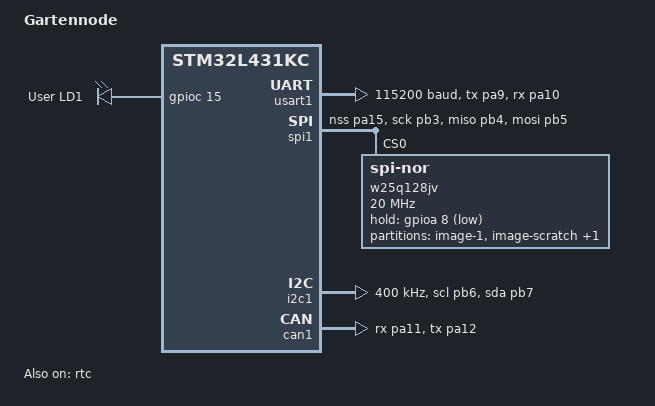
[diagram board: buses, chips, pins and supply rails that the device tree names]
/dts-v1/;
#include "stm32l431Xc.dtsi"
#include <st/l4/stm32l431k(b-c)ux-pinctrl.dtsi>

/ {
	model = "Gartennode";
	compatible = "st,stm32l431kc";

	chosen {
		zephyr,console = &usart1;
		zephyr,shell-uart = &usart1;
		zephyr,sram = &sram0;
		zephyr,flash = &flash0;
		zephyr,code-partition = &slot0_partition;
		zephyr,canbus = &can1;
	};

	leds: leds {
		compatible = "gpio-leds";
		green_led: led_0 {
			gpios = <&gpioc 15 GPIO_ACTIVE_HIGH>;
			label = "User LD1";
		};
	};

	aliases {
		led0 = &green_led;
	};
};

&clk_lsi {
	status = "okay";
};

&clk_hsi {
	status = "okay";
};

&pll {
	div-m = <1>;
	mul-n = <20>;
	div-p = <7>;
	div-q = <2>;
	div-r = <4>;
	clocks = <&clk_hsi>;
	status = "okay";
};

&rcc {
	clocks = <&pll>;
	clock-frequency = <DT_FREQ_M(80)>;
	ahb-prescaler = <1>;
	apb1-prescaler = <1>;
	apb2-prescaler = <1>;
};

&usart1 {
	pinctrl-0 = <&usart1_tx_pa9 &usart1_rx_pa10>;
	pinctrl-names = "default";
	current-speed = <115200>;
	status = "okay";
};

&spi1 {
	pinctrl-0 = <&spi1_nss_pa15 &spi1_sck_pb3
		     &spi1_miso_pb4 &spi1_mosi_pb5>;
	pinctrl-names = "default";
	status = "okay";
	w25q128jv: w25q128jv@0 {
		compatible ="jedec,spi-nor";
		size = <0x8000000>;
		reg = <0>;
		spi-max-frequency = <20000000>;
		hold-gpios = < &gpioa 8 GPIO_ACTIVE_LOW >;
		status = "okay";
		jedec-id = [ef 40 18];

		partitions {
			compatible = "fixed-partitions";
			#address-cells = <1>;
			#size-cells = <1>;

			slot1_partition: partition@0 {
				label = "image-1";
				reg = <0x00000000 DT_SIZE_K(192)>;
			};
			scratch_partition: partition@30000 {
				label = "image-scratch";
				reg = <0x00030000 DT_SIZE_K(192)>;
			};
			storage_partition: partition@60000 {
				label = "storage";
				reg = <0x00060000 0x00006000>;
			};
		};
	};
};

&i2c1 {
	pinctrl-0 = <&i2c1_scl_pb6 &i2c1_sda_pb7>;
	pinctrl-names = "default";
	clock-frequency = <I2C_BITRATE_FAST>;
	status = "okay";
};

&can1 {
	pinctrl-0 = <&can1_rx_pa11 &can1_tx_pa12>;
	pinctrl-names = "default";
	status = "okay";
};

&rtc {
	clocks = <&rcc STM32_CLOCK_BUS_APB1 0x10000000>,
		 <&rcc STM32_SRC_LSI RTC_SEL(2)>;
	status = "okay";
};

&flash0 {
	partitions {
		compatible = "fixed-partitions";
		#address-cells = <1>;
		#size-cells = <1>;

		/*
		 * The two sectors 0-31 (32*2 kbytes) are reserved for
		 * the bootloader.
		 */
		boot_partition: partition@0 {
			label = "mcuboot";
			reg = <0x0 DT_SIZE_K(64)>;
			read-only;
		};

		/*
		 * Allocated 96 (96*2k) sectors for image-0. Sectors 32-128.
		 */
		slot0_partition: partition@10000 {
			label = "image-0";
			reg = <0x00010000 DT_SIZE_K(192)>;
		};
	};
};
